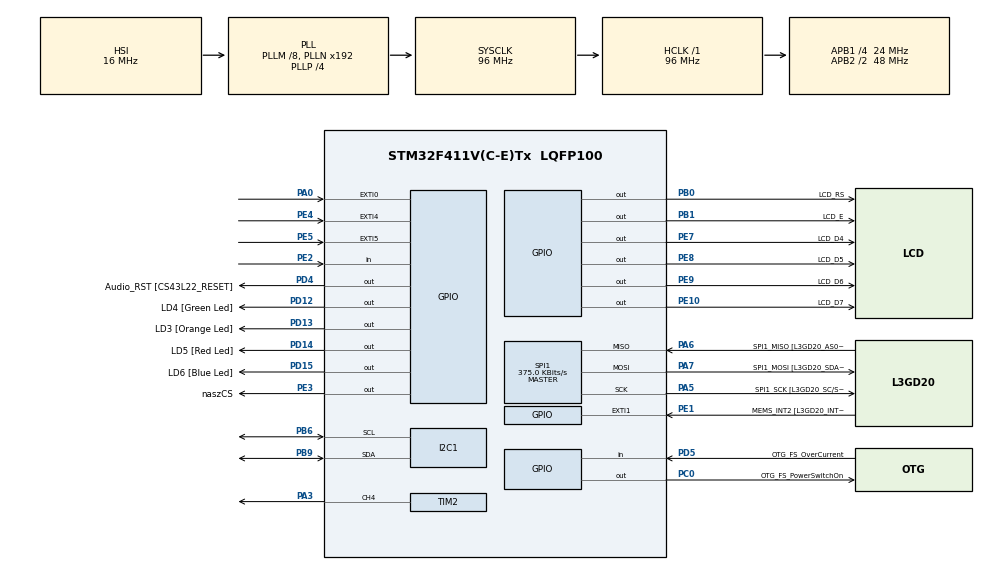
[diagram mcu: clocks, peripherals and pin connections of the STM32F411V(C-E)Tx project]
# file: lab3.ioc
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Mcu.Family=STM32F4
Mcu.Name=STM32F411V(C-E)Tx
Mcu.Package=LQFP100
NVIC.PriorityGroup=NVIC_PRIORITYGROUP_0
PA0-WKUP.GPIO_ModeDefaultEXTI=GPIO_MODE_EVT_RISING
PA0-WKUP.Signal=GPXTI0
PA10.GPIO_Label=OTG_FS_ID
PA10.Signal=USB_OTG_FS_ID
PA11.GPIO_Label=OTG_FS_DM
PA11.Signal=USB_OTG_FS_DM
PA12.GPIO_Label=OTG_FS_DP
PA12.Signal=USB_OTG_FS_DP
PA13.GPIO_Label=SWDIO
PA13.Signal=SYS_JTMS-SWDIO
PA14.GPIO_Label=SWCLK
PA14.Signal=SYS_JTCK-SWCLK
PA3.Signal=S_TIM2_CH4
PA4.GPIO_Label=I2S3_WS [CS43L22_LRCK]
PA4.GPIO_Mode=GPIO_MODE_AF_PP
PA4.GPIO_PuPd=GPIO_NOPULL
PA4.GPIO_Speed=GPIO_SPEED_FREQ_LOW
PA4.Signal=I2S3_WS
PA5.GPIO_Label=SPI1_SCK [L3GD20_SC/SPC]
PA5.Mode=Full_Duplex_Master
PA5.Signal=SPI1_SCK
PA6.GPIO_Label=SPI1_MISO [L3GD20_AS0/SDO]
PA6.Mode=Full_Duplex_Master
PA6.Signal=SPI1_MISO
PA7.GPIO_Label=SPI1_MOSI [L3GD20_SDA/SDI/SDO]
PA7.Mode=Full_Duplex_Master
PA7.Signal=SPI1_MOSI
PA9.GPIO_Label=VBUS_FS
PA9.Signal=USB_OTG_FS_VBUS
PB0.GPIO_Label=LCD_RS
PB0.Signal=GPIO_Output
PB1.GPIO_Label=LCD_E
PB1.Signal=GPIO_Output
PB10.GPIO_Label=CLK_IN [MP45DT02_CLK]
PB10.Signal=I2S2_CK
PB12.Signal=I2S2_WS
PB3.GPIO_Label=SWO
PB3.Signal=SYS_JTDO-SWO
PB6.Mode=I2C
PB6.Signal=I2C1_SCL
PB9.Mode=I2C
PB9.Signal=I2C1_SDA
PC0.GPIO_Label=OTG_FS_PowerSwitchOn
PC0.PinState=GPIO_PIN_SET
PC0.Signal=GPIO_Output
PC10.GPIO_Label=I2S3_SCK [CS43L22_SCLK]
PC10.GPIO_Mode=GPIO_MODE_AF_PP
PC10.GPIO_PuPd=GPIO_NOPULL
PC10.GPIO_Speed=GPIO_SPEED_FREQ_LOW
PC10.Signal=I2S3_CK
PC12.GPIO_Label=I2S3_SD [CS43L22_SDIN]
PC12.GPIO_Mode=GPIO_MODE_AF_PP
PC12.GPIO_PuPd=GPIO_NOPULL
PC12.GPIO_Speed=GPIO_SPEED_FREQ_LOW
PC12.Signal=I2S3_SD
PC14-OSC32_IN.GPIO_Label=PC14-OSC32_IN
PC14-OSC32_IN.Signal=RCC_OSC32_IN
PC15-OSC32_OUT.GPIO_Label=PC15-OSC32_OUT
PC15-OSC32_OUT.Signal=RCC_OSC32_OUT
PC3.GPIO_Label=PDM_OUT [MP45DT02_DOUT]
PC3.Signal=I2S2_SD
PC7.GPIO_Label=I2S3_MCK [CS43L22_MCLK]
PC7.GPIO_Mode=GPIO_MODE_AF_PP
PC7.GPIO_PuPd=GPIO_NOPULL
PC7.GPIO_Speed=GPIO_SPEED_FREQ_LOW
PC7.Signal=I2S3_MCK
PD12.GPIO_Label=LD4 [Green Led]
PD12.GPIO_PuPd=GPIO_NOPULL
PD12.GPIO_Speed=GPIO_SPEED_FREQ_LOW
PD12.Signal=GPIO_Output
PD13.GPIO_Label=LD3 [Orange Led]
PD13.GPIO_PuPd=GPIO_NOPULL
PD13.GPIO_Speed=GPIO_SPEED_FREQ_LOW
PD13.Signal=GPIO_Output
PD14.GPIO_Label=LD5 [Red Led]
PD14.GPIO_PuPd=GPIO_NOPULL
PD14.GPIO_Speed=GPIO_SPEED_FREQ_LOW
PD14.Signal=GPIO_Output
PD15.GPIO_Label=LD6 [Blue Led]
PD15.GPIO_PuPd=GPIO_NOPULL
PD15.GPIO_Speed=GPIO_SPEED_FREQ_LOW
PD15.Signal=GPIO_Output
PD4.GPIO_Label=Audio_RST [CS43L22_RESET]
PD4.Signal=GPIO_Output
PD5.GPIO_Label=OTG_FS_OverCurrent
PD5.Signal=GPIO_Input
PE1.GPIO_Label=MEMS_INT2 [L3GD20_INT2]
PE1.GPIO_ModeDefaultEXTI=GPIO_MODE_EVT_RISING
PE1.Signal=GPXTI1
PE10.GPIO_Label=LCD_D7
PE10.Signal=GPIO_Output
PE2.Signal=GPIO_Input
PE3.GPIO_Label=naszCS
PE3.Signal=GPIO_Output
PE4.GPIO_ModeDefaultEXTI=GPIO_MODE_EVT_RISING
PE4.Signal=GPXTI4
PE5.GPIO_ModeDefaultEXTI=GPIO_MODE_EVT_RISING
PE5.Signal=GPXTI5
PE7.GPIO_Label=LCD_D4
PE7.Signal=GPIO_Output
PE8.GPIO_Label=LCD_D5
PE8.Signal=GPIO_Output
PE9.GPIO_Label=LCD_D6
PE9.Signal=GPIO_Output
PH0\ -\ OSC_IN.GPIO_Label=PH0-OSC_IN
PH0\ -\ OSC_IN.Signal=RCC_OSC_IN
PH1\ -\ OSC_OUT.GPIO_Label=PH1-OSC_OUT
PH1\ -\ OSC_OUT.Signal=RCC_OSC_OUT
ProjectManager.HeapSize=0x200
ProjectManager.StackSize=0x400
ProjectManager.TargetToolchain=STM32CubeIDE
RCC.48MHZClocksFreq_Value=48000000
RCC.AHBFreq_Value=96000000
RCC.APB1CLKDivider=RCC_HCLK_DIV4
RCC.APB1Freq_Value=24000000
RCC.APB1TimFreq_Value=48000000
RCC.APB2CLKDivider=RCC_HCLK_DIV2
RCC.APB2Freq_Value=48000000
RCC.APB2TimFreq_Value=96000000
RCC.CortexFreq_Value=96000000
RCC.HCLKFreq_Value=96000000
RCC.HSE_VALUE=8000000
RCC.HSI_VALUE=16000000
RCC.LSE_VALUE=32768
RCC.PLLI2SM=5
RCC.PLLI2SN=200
RCC.PLLM=8
RCC.PLLP=RCC_PLLP_DIV4
RCC.PLLQ=8
RCC.SYSCLKFreq_VALUE=96000000
RCC.SYSCLKSource=RCC_SYSCLKSOURCE_PLLCLK
RCC.VCOOutputFreq_Value=384000000
SH.S_TIM2_CH4.0=TIM2_CH4,PWM Generation4 CH4
SPI1.BaudRatePrescaler=SPI_BAUDRATEPRESCALER_128
SPI1.CalculateBaudRate=375.0 KBits/s
SPI1.Direction=SPI_DIRECTION_2LINES
SPI1.Mode=SPI_MODE_MASTER
SPI1.VirtualType=VM_MASTER
TIM2.Channel-PWM\ Generation4\ CH4=TIM_CHANNEL_4
TIM2.Period=1000
TIM2.Prescaler=16000-1
TIM2.Pulse-PWM\ Generation4\ CH4=250
VP_TIM2_VS_ClockSourceINT.Mode=Internal
board=STM32F411E-DISCO

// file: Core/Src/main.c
/* USER CODE BEGIN Header */
/**
  ******************************************************************************
  * @file           : main.c
  * @brief          : Main program body
  ******************************************************************************
  * @attention
  *
  * Copyright (c) 2023 STMicroelectronics.
  * All rights reserved.
  *
  * This software is licensed under terms that can be found in the LICENSE file
  * in the root directory of this software component.
  * If no LICENSE file comes with this software, it is provided AS-IS.
  *
  ******************************************************************************
  */
/* USER CODE END Header */
#include "main.h"

/* USER CODE BEGIN Includes */
#include <stdbool.h>
#include "lcd.h"
/* USER CODE END Includes */

/* USER CODE BEGIN PD */
#define GYRO_WHO_AM_I 0b11010011

#define GYRO_ADDR_OUT_X_L 0xA8
#define GYRO_ADDR_OUT_X_H 0xA9
#define GYRO_ADDR_OUT_Y_L 0xAA
#define GYRO_ADDR_OUT_Y_H 0xAB
#define GYRO_ADDR_OUT_Z_L 0xAC
#define GYRO_ADDR_OUT_Z_H 0xAD

#define ACC_I2C_ADDR 0x32
#define ACC_WHO_AM_I 0b00110011
#define ACC_ADDR_WHO_AM_I 0x0F
#define ACC_ADDR_OUT_X_L 0x28
#define ACC_ADDR_CRTL1 0x20
/* USER CODE END PD */

I2C_HandleTypeDef hi2c1;

SPI_HandleTypeDef hspi1;

TIM_HandleTypeDef htim2;

/* USER CODE BEGIN PV */
uint8_t gyro_adr[6] = {
		GYRO_ADDR_OUT_X_L, GYRO_ADDR_OUT_X_H,
		GYRO_ADDR_OUT_Y_L, GYRO_ADDR_OUT_Y_H,
		GYRO_ADDR_OUT_Z_L, GYRO_ADDR_OUT_Z_H
};

int16_t gyro_xyz[3] ={0,0,0};
int16_t acc_xyz[3] = {0,0,0};

float a_x, a_y, a_z = 0;
float g_x, g_y, g_z = 0;
/* USER CODE END PV */

void SystemClock_Config(void);
static void MX_GPIO_Init(void);
static void MX_SPI1_Init(void);
static void MX_I2C1_Init(void);
static void MX_TIM2_Init(void);
/* USER CODE BEGIN PFP */
extern void initialise_monitor_handles(void);
/* USER CODE END PFP */

/* USER CODE BEGIN 0 */
bool I3G4250D_who_check(void)
{
	uint8_t check = 0;
	uint8_t who = 0x8F;
	HAL_GPIO_WritePin(naszCS_GPIO_Port, naszCS_Pin, 0);
	HAL_SPI_Transmit(&hspi1,&who,1,100);
	HAL_SPI_Receive(&hspi1, &check, 1, 100);
	HAL_GPIO_WritePin(naszCS_GPIO_Port, naszCS_Pin, 1);
	return check == GYRO_WHO_AM_I;
}

void I3G4250D_init(void)
{
	HAL_GPIO_WritePin(naszCS_GPIO_Port, naszCS_Pin, 1);
	HAL_Delay(1);

	uint8_t gyro_ctr1 = 0b00100000;
	uint8_t data = 0b00001111;
	if(I3G4250D_who_check())
	{
		//put gyro in normal mode
		HAL_GPIO_WritePin(naszCS_GPIO_Port, naszCS_Pin, 0);
		HAL_SPI_Transmit(&hspi1,&gyro_ctr1,1,100);
		HAL_SPI_Transmit(&hspi1,&data,1,100);
		HAL_GPIO_WritePin(naszCS_GPIO_Port, naszCS_Pin, 1);
	}
	else
	{
		printf("ERROR: gyro not found\n");
		HAL_Delay(1000);
	}
}

void I3G4250D_Read_Gyro(void)
{
	uint8_t odebrane[6] = {0,0,0,0,0,0};

	for (int i=0; i<6 ; i++)
	{
	  HAL_GPIO_WritePin(naszCS_GPIO_Port, naszCS_Pin, 0);
	  HAL_SPI_Transmit(&hspi1,&gyro_adr[i],1,100);
	  HAL_SPI_Receive(&hspi1, &odebrane[i], 1, 100);
	  HAL_GPIO_WritePin(naszCS_GPIO_Port, naszCS_Pin, 1);
	}

	gyro_xyz[0]= (int16_t)((odebrane[1] << 8) | odebrane[0]);
	gyro_xyz[1]= (int16_t)((odebrane[3] << 8) | odebrane[2]);
	gyro_xyz[2]= (int16_t)((odebrane[5] << 8) | odebrane[4]);

	g_x = gyro_xyz[0] * 1/155;
	g_y = gyro_xyz[1] * 1/155;
	g_z = gyro_xyz[2] * 1/155;
}

void LSM303AGR_init(void)
{
	uint8_t check = 0;
	HAL_I2C_Mem_Read(&hi2c1, ACC_I2C_ADDR, ACC_ADDR_WHO_AM_I, 1, &check, 1, 1000);

	if(check == ACC_WHO_AM_I)
	{
		uint8_t data = 0x57;
		HAL_I2C_Mem_Write(&hi2c1, ACC_I2C_ADDR, ACC_ADDR_CRTL1, 1, &data, 1, 1000);
	}
	else
	{
		printf("ERROR: acc not found\n");
		HAL_Delay(1000);
	}
	HAL_Delay(100);
}

void LSM303AGR_Read_Acc(void)
{
	uint8_t odebrane[6] = {0,0,0,0,0,0};

	for(int i=0; i<6; i++)
	{
		HAL_I2C_Mem_Read(&hi2c1, ACC_I2C_ADDR, ACC_ADDR_OUT_X_L+i, 1, &odebrane[i], 1, 1000);
	}
	acc_xyz[0]= (int16_t)((odebrane[1] << 8) | odebrane[0]);
	acc_xyz[1]= (int16_t)((odebrane[3] << 8) | odebrane[2]);
	acc_xyz[2]= (int16_t)((odebrane[5] << 8) | odebrane[4]);

	//pomnozyć przez 4 mg
	a_x = acc_xyz[0] * 1/1600;
	a_y = acc_xyz[1] * 1/1600;
	a_z = acc_xyz[2] * 1/1600;
}

bool stall = false;
void stall_signal(void)
{
  //pwm
	  if(g_y <= -15)
	  {
      stall = true;
		  HAL_TIM_PWM_Start(&htim2, TIM_CHANNEL_4);
      TIM2->CCR4 = 250;
		  if(g_y <= -30)
		  {
			  TIM2->CCR4 = 750;
		  }
	  }
	  else if(stall && (a_z >= 10))
	  {
		  HAL_TIM_PWM_Stop(&htim2, TIM_CHANNEL_4);
		  stall = false;
	  }
}

/* USER CODE END 0 */

int main(void)
{
  /* USER CODE BEGIN 1 */
  char *front_slash = {0b00101111}; // '/'
  char *back_slash = {0b10100100};  // '\'
  char *box = {0b11111111};

  char *gyro_X[3];
  char *gyro_Y[3];
  char *gyro_Z[3];
  /* USER CODE END 1 */

  /* MCU Configuration--------------------------------------------------------*/

  /* Reset of all peripherals, Initializes the Flash interface and the Systick. */
  HAL_Init();

  /* Configure the system clock */
  SystemClock_Config();

  /* Initialize all configured peripherals */
  MX_GPIO_Init();
  MX_SPI1_Init();
  MX_I2C1_Init();
  MX_TIM2_Init();
  /* USER CODE BEGIN 2 */
  LCD_Init();

  initialise_monitor_handles();

  I3G4250D_init();
  LSM303AGR_init();

  /* USER CODE END 2 */

  /* Infinite loop */
  /* USER CODE BEGIN WHILE */
  while (1)
  {
	  I3G4250D_Read_Gyro();
	  LSM303AGR_Read_Acc();

    stall_signal();

	  printf("%.2f\t %.2f\t %.2f\t %.2f\t %.2f\t %.2f\n"
			  ,g_x,  g_y,   g_z,   a_x,   a_y,   a_z);

	  sprintf(gyro_X, "%.0f", g_x);
	  sprintf(gyro_Y, "%.0f", g_y);
	  sprintf(gyro_Z, "%.0f", g_z);

	  // Normalnie
	  if ((a_z>=9) && (a_x<=3 && a_x>=-3) && (a_y<=3 && a_y>=-3))
	  	  {
		  lcd_str_XY(0,1, &box);
		  lcd_str_XY(1,1, &box);
		  lcd_str_XY(2,1, &box);
	  	  }
	  // Do góry nogami
	  else if (a_z<=-9 && (a_x<=3 && a_x>=-3) && (a_y<=3 && a_y>=-3))
	  	  {
		  lcd_str_XY(0,0, &box);
		  lcd_str_XY(1,0, &box);
		  lcd_str_XY(2,0, &box);
	  	  }
	  // Do przodu
	  else if (a_x>=3 && a_z<=9)
		  {
		  lcd_str_XY(0,0, &box);
		  lcd_str_XY(1,0, &box);
		  lcd_str_XY(2,0, &box);
		  lcd_str_XY(0,1, &box);
		  lcd_str_XY(1,1, &box);
		  lcd_str_XY(2,1, &box);
		  }
	  // Do tyłu
	  else if (a_x<=-3 && a_z<=9)
		  {
		  lcd_str_XY(0,1, "_");
		  lcd_str_XY(1,1, "_");
		  lcd_str_XY(2,1, "_");
		  }
	  // Przechył w lewo
	  else if ((a_y>=-9 && a_y<=-3) && (a_z>=3 && a_z<=9))
	  	  {
		  lcd_str_XY(0,0, &box);
		  lcd_str_XY(1,0, &back_slash);
		  lcd_str_XY(0,1, &box);
		  lcd_str_XY(1,1, &box);
		  lcd_str_XY(2,1, &box);
	  	  }
	  // Pion w lewo
	  else if ((a_y<=-10) && (a_z<=3))
	  	  {
		  lcd_str_XY(0,0, &box);
		  lcd_str_XY(0,1, &box);
	  	  }
	  //Przechył w prawo
	  else if ((a_y<=9 && a_y>=3) && (a_z>=3 && a_z<=9))
	  	  {
		  lcd_str_XY(2,0, &box);
		  lcd_str_XY(1,0, &front_slash);
		  lcd_str_XY(0,1, &box);
		  lcd_str_XY(1,1, &box);
		  lcd_str_XY(2,1, &box);
	  	  }
	  //Pion w prawo
	  else if ((a_y>=10) && (a_z<=3))
	  	  {
		  lcd_str_XY(2,0, &box);
		  lcd_str_XY(2,1, &box);
	  	  }

	  lcd_str_XY(4, 0, "X:");
	  lcd_str_XY(4, 1, &gyro_X);
	  lcd_str_XY(8, 0, "Y:");
	  lcd_str_XY(8, 1, &gyro_Y);
	  lcd_str_XY(12, 0, "Z:");
	  lcd_str_XY(12, 1, &gyro_Z);

	  HAL_Delay(250);
	  lcd_clear();

    /* USER CODE END WHILE */

  }
}

void SystemClock_Config(void)
{
  RCC_OscInitTypeDef RCC_OscInitStruct = {0};
  RCC_ClkInitTypeDef RCC_ClkInitStruct = {0};

  /** Configure the main internal regulator output voltage
  */
  __HAL_RCC_PWR_CLK_ENABLE();
  __HAL_PWR_VOLTAGESCALING_CONFIG(PWR_REGULATOR_VOLTAGE_SCALE1);

  /** Initializes the RCC Oscillators according to the specified parameters
  * in the RCC_OscInitTypeDef structure.
  */
  RCC_OscInitStruct.OscillatorType = RCC_OSCILLATORTYPE_HSI;
  RCC_OscInitStruct.HSIState = RCC_HSI_ON;
  RCC_OscInitStruct.HSICalibrationValue = RCC_HSICALIBRATION_DEFAULT;
  RCC_OscInitStruct.PLL.PLLState = RCC_PLL_ON;
  RCC_OscInitStruct.PLL.PLLSource = RCC_PLLSOURCE_HSI;
  RCC_OscInitStruct.PLL.PLLM = 8;
  RCC_OscInitStruct.PLL.PLLN = 192;
  RCC_OscInitStruct.PLL.PLLP = RCC_PLLP_DIV4;
  RCC_OscInitStruct.PLL.PLLQ = 8;
  if (HAL_RCC_OscConfig(&RCC_OscInitStruct) != HAL_OK)
  {
    Error_Handler();
  }

  /** Initializes the CPU, AHB and APB buses clocks
  */
  RCC_ClkInitStruct.ClockType = RCC_CLOCKTYPE_HCLK|RCC_CLOCKTYPE_SYSCLK
                              |RCC_CLOCKTYPE_PCLK1|RCC_CLOCKTYPE_PCLK2;
  RCC_ClkInitStruct.SYSCLKSource = RCC_SYSCLKSOURCE_PLLCLK;
  RCC_ClkInitStruct.AHBCLKDivider = RCC_SYSCLK_DIV1;
  RCC_ClkInitStruct.APB1CLKDivider = RCC_HCLK_DIV4;
  RCC_ClkInitStruct.APB2CLKDivider = RCC_HCLK_DIV2;

  if (HAL_RCC_ClockConfig(&RCC_ClkInitStruct, FLASH_LATENCY_3) != HAL_OK)
  {
    Error_Handler();
  }
}

static void MX_I2C1_Init(void)
{

  hi2c1.Instance = I2C1;
  hi2c1.Init.ClockSpeed = 100000;
  hi2c1.Init.DutyCycle = I2C_DUTYCYCLE_2;
  hi2c1.Init.OwnAddress1 = 0;
  hi2c1.Init.AddressingMode = I2C_ADDRESSINGMODE_7BIT;
  hi2c1.Init.DualAddressMode = I2C_DUALADDRESS_DISABLE;
  hi2c1.Init.OwnAddress2 = 0;
  hi2c1.Init.GeneralCallMode = I2C_GENERALCALL_DISABLE;
  hi2c1.Init.NoStretchMode = I2C_NOSTRETCH_DISABLE;
  if (HAL_I2C_Init(&hi2c1) != HAL_OK)
  {
    Error_Handler();
  }

}

static void MX_SPI1_Init(void)
{

  /* SPI1 parameter configuration*/
  hspi1.Instance = SPI1;
  hspi1.Init.Mode = SPI_MODE_MASTER;
  hspi1.Init.Direction = SPI_DIRECTION_2LINES;
  hspi1.Init.DataSize = SPI_DATASIZE_8BIT;
  hspi1.Init.CLKPolarity = SPI_POLARITY_LOW;
  hspi1.Init.CLKPhase = SPI_PHASE_1EDGE;
  hspi1.Init.NSS = SPI_NSS_SOFT;
  hspi1.Init.BaudRatePrescaler = SPI_BAUDRATEPRESCALER_128;
  hspi1.Init.FirstBit = SPI_FIRSTBIT_MSB;
  hspi1.Init.TIMode = SPI_TIMODE_DISABLE;
  hspi1.Init.CRCCalculation = SPI_CRCCALCULATION_DISABLE;
  hspi1.Init.CRCPolynomial = 10;
  if (HAL_SPI_Init(&hspi1) != HAL_OK)
  {
    Error_Handler();
  }

}

static void MX_TIM2_Init(void)
{

  TIM_ClockConfigTypeDef sClockSourceConfig = {0};
  TIM_MasterConfigTypeDef sMasterConfig = {0};
  TIM_OC_InitTypeDef sConfigOC = {0};

  htim2.Instance = TIM2;
  htim2.Init.Prescaler = 16000-1;
  htim2.Init.CounterMode = TIM_COUNTERMODE_UP;
  htim2.Init.Period = 1000;
  htim2.Init.ClockDivision = TIM_CLOCKDIVISION_DIV1;
  htim2.Init.AutoReloadPreload = TIM_AUTORELOAD_PRELOAD_DISABLE;
  if (HAL_TIM_Base_Init(&htim2) != HAL_OK)
  {
    Error_Handler();
  }
  sClockSourceConfig.ClockSource = TIM_CLOCKSOURCE_INTERNAL;
  if (HAL_TIM_ConfigClockSource(&htim2, &sClockSourceConfig) != HAL_OK)
  {
    Error_Handler();
  }
  if (HAL_TIM_PWM_Init(&htim2) != HAL_OK)
  {
    Error_Handler();
  }
  sMasterConfig.MasterOutputTrigger = TIM_TRGO_RESET;
  sMasterConfig.MasterSlaveMode = TIM_MASTERSLAVEMODE_DISABLE;
  if (HAL_TIMEx_MasterConfigSynchronization(&htim2, &sMasterConfig) != HAL_OK)
  {
    Error_Handler();
  }
  sConfigOC.OCMode = TIM_OCMODE_PWM1;
  sConfigOC.Pulse = 250;
  sConfigOC.OCPolarity = TIM_OCPOLARITY_HIGH;
  sConfigOC.OCFastMode = TIM_OCFAST_DISABLE;
  if (HAL_TIM_PWM_ConfigChannel(&htim2, &sConfigOC, TIM_CHANNEL_4) != HAL_OK)
  {
    Error_Handler();
  }
  HAL_TIM_MspPostInit(&htim2);

}

static void MX_GPIO_Init(void)
{
  GPIO_InitTypeDef GPIO_InitStruct = {0};

  /* GPIO Ports Clock Enable */
  __HAL_RCC_GPIOE_CLK_ENABLE();
  __HAL_RCC_GPIOC_CLK_ENABLE();
  __HAL_RCC_GPIOH_CLK_ENABLE();
  __HAL_RCC_GPIOA_CLK_ENABLE();
  __HAL_RCC_GPIOB_CLK_ENABLE();
  __HAL_RCC_GPIOD_CLK_ENABLE();

  /*Configure GPIO pin Output Level */
  HAL_GPIO_WritePin(GPIOE, naszCS_Pin|LCD_D4_Pin|LCD_D5_Pin|LCD_D6_Pin
                          |LCD_D7_Pin, GPIO_PIN_RESET);

  /*Configure GPIO pin Output Level */
  HAL_GPIO_WritePin(OTG_FS_PowerSwitchOn_GPIO_Port, OTG_FS_PowerSwitchOn_Pin, GPIO_PIN_SET);

  /*Configure GPIO pin Output Level */
  HAL_GPIO_WritePin(GPIOB, LCD_RS_Pin|LCD_E_Pin, GPIO_PIN_RESET);

  /*Configure GPIO pin Output Level */
  HAL_GPIO_WritePin(GPIOD, LD4_Pin|LD3_Pin|LD5_Pin|LD6_Pin
                          |Audio_RST_Pin, GPIO_PIN_RESET);

  /*Configure GPIO pin : PE2 */
  GPIO_InitStruct.Pin = GPIO_PIN_2;
  GPIO_InitStruct.Mode = GPIO_MODE_INPUT;
  GPIO_InitStruct.Pull = GPIO_NOPULL;
  HAL_GPIO_Init(GPIOE, &GPIO_InitStruct);

  /*Configure GPIO pins : naszCS_Pin LCD_D4_Pin LCD_D5_Pin LCD_D6_Pin
                           LCD_D7_Pin */
  GPIO_InitStruct.Pin = naszCS_Pin|LCD_D4_Pin|LCD_D5_Pin|LCD_D6_Pin
                          |LCD_D7_Pin;
  GPIO_InitStruct.Mode = GPIO_MODE_OUTPUT_PP;
  GPIO_InitStruct.Pull = GPIO_NOPULL;
  GPIO_InitStruct.Speed = GPIO_SPEED_FREQ_LOW;
  HAL_GPIO_Init(GPIOE, &GPIO_InitStruct);

  /*Configure GPIO pins : PE4 PE5 MEMS_INT2_Pin */
  GPIO_InitStruct.Pin = GPIO_PIN_4|GPIO_PIN_5|MEMS_INT2_Pin;
  GPIO_InitStruct.Mode = GPIO_MODE_EVT_RISING;
  GPIO_InitStruct.Pull = GPIO_NOPULL;
  HAL_GPIO_Init(GPIOE, &GPIO_InitStruct);

  /*Configure GPIO pin : OTG_FS_PowerSwitchOn_Pin */
  GPIO_InitStruct.Pin = OTG_FS_PowerSwitchOn_Pin;
  GPIO_InitStruct.Mode = GPIO_MODE_OUTPUT_PP;
  GPIO_InitStruct.Pull = GPIO_NOPULL;
  GPIO_InitStruct.Speed = GPIO_SPEED_FREQ_LOW;
  HAL_GPIO_Init(OTG_FS_PowerSwitchOn_GPIO_Port, &GPIO_InitStruct);

  /*Configure GPIO pin : PDM_OUT_Pin */
  GPIO_InitStruct.Pin = PDM_OUT_Pin;
  GPIO_InitStruct.Mode = GPIO_MODE_AF_PP;
  GPIO_InitStruct.Pull = GPIO_NOPULL;
  GPIO_InitStruct.Speed = GPIO_SPEED_FREQ_LOW;
  GPIO_InitStruct.Alternate = GPIO_AF5_SPI2;
  HAL_GPIO_Init(PDM_OUT_GPIO_Port, &GPIO_InitStruct);

  /*Configure GPIO pin : PA0 */
  GPIO_InitStruct.Pin = GPIO_PIN_0;
  GPIO_InitStruct.Mode = GPIO_MODE_EVT_RISING;
  GPIO_InitStruct.Pull = GPIO_NOPULL;
  HAL_GPIO_Init(GPIOA, &GPIO_InitStruct);

  /*Configure GPIO pin : I2S3_WS_Pin */
  GPIO_InitStruct.Pin = I2S3_WS_Pin;
  GPIO_InitStruct.Mode = GPIO_MODE_AF_PP;
  GPIO_InitStruct.Pull = GPIO_NOPULL;
  GPIO_InitStruct.Speed = GPIO_SPEED_FREQ_LOW;
  GPIO_InitStruct.Alternate = GPIO_AF6_SPI3;
  HAL_GPIO_Init(I2S3_WS_GPIO_Port, &GPIO_InitStruct);

  /*Configure GPIO pins : LCD_RS_Pin LCD_E_Pin */
  GPIO_InitStruct.Pin = LCD_RS_Pin|LCD_E_Pin;
  GPIO_InitStruct.Mode = GPIO_MODE_OUTPUT_PP;
  GPIO_InitStruct.Pull = GPIO_NOPULL;
  GPIO_InitStruct.Speed = GPIO_SPEED_FREQ_LOW;
  HAL_GPIO_Init(GPIOB, &GPIO_InitStruct);

  /*Configure GPIO pins : CLK_IN_Pin PB12 */
  GPIO_InitStruct.Pin = CLK_IN_Pin|GPIO_PIN_12;
  GPIO_InitStruct.Mode = GPIO_MODE_AF_PP;
  GPIO_InitStruct.Pull = GPIO_NOPULL;
  GPIO_InitStruct.Speed = GPIO_SPEED_FREQ_LOW;
  GPIO_InitStruct.Alternate = GPIO_AF5_SPI2;
  HAL_GPIO_Init(GPIOB, &GPIO_InitStruct);

  /*Configure GPIO pins : LD4_Pin LD3_Pin LD5_Pin LD6_Pin
                           Audio_RST_Pin */
  GPIO_InitStruct.Pin = LD4_Pin|LD3_Pin|LD5_Pin|LD6_Pin
                          |Audio_RST_Pin;
  GPIO_InitStruct.Mode = GPIO_MODE_OUTPUT_PP;
  GPIO_InitStruct.Pull = GPIO_NOPULL;
  GPIO_InitStruct.Speed = GPIO_SPEED_FREQ_LOW;
  HAL_GPIO_Init(GPIOD, &GPIO_InitStruct);

  /*Configure GPIO pins : I2S3_MCK_Pin I2S3_SCK_Pin I2S3_SD_Pin */
  GPIO_InitStruct.Pin = I2S3_MCK_Pin|I2S3_SCK_Pin|I2S3_SD_Pin;
  GPIO_InitStruct.Mode = GPIO_MODE_AF_PP;
  GPIO_InitStruct.Pull = GPIO_NOPULL;
  GPIO_InitStruct.Speed = GPIO_SPEED_FREQ_LOW;
  GPIO_InitStruct.Alternate = GPIO_AF6_SPI3;
  HAL_GPIO_Init(GPIOC, &GPIO_InitStruct);

  /*Configure GPIO pin : VBUS_FS_Pin */
  GPIO_InitStruct.Pin = VBUS_FS_Pin;
  GPIO_InitStruct.Mode = GPIO_MODE_INPUT;
  GPIO_InitStruct.Pull = GPIO_NOPULL;
  HAL_GPIO_Init(VBUS_FS_GPIO_Port, &GPIO_InitStruct);

  /*Configure GPIO pins : OTG_FS_ID_Pin OTG_FS_DM_Pin OTG_FS_DP_Pin */
  GPIO_InitStruct.Pin = OTG_FS_ID_Pin|OTG_FS_DM_Pin|OTG_FS_DP_Pin;
  GPIO_InitStruct.Mode = GPIO_MODE_AF_PP;
  GPIO_InitStruct.Pull = GPIO_NOPULL;
  GPIO_InitStruct.Speed = GPIO_SPEED_FREQ_VERY_HIGH;
  GPIO_InitStruct.Alternate = GPIO_AF10_OTG_FS;
  HAL_GPIO_Init(GPIOA, &GPIO_InitStruct);

  /*Configure GPIO pin : OTG_FS_OverCurrent_Pin */
  GPIO_InitStruct.Pin = OTG_FS_OverCurrent_Pin;
  GPIO_InitStruct.Mode = GPIO_MODE_INPUT;
  GPIO_InitStruct.Pull = GPIO_NOPULL;
  HAL_GPIO_Init(OTG_FS_OverCurrent_GPIO_Port, &GPIO_InitStruct);

}

void Error_Handler(void)
{
  __disable_irq();
  while (1)
  {
  }
}
